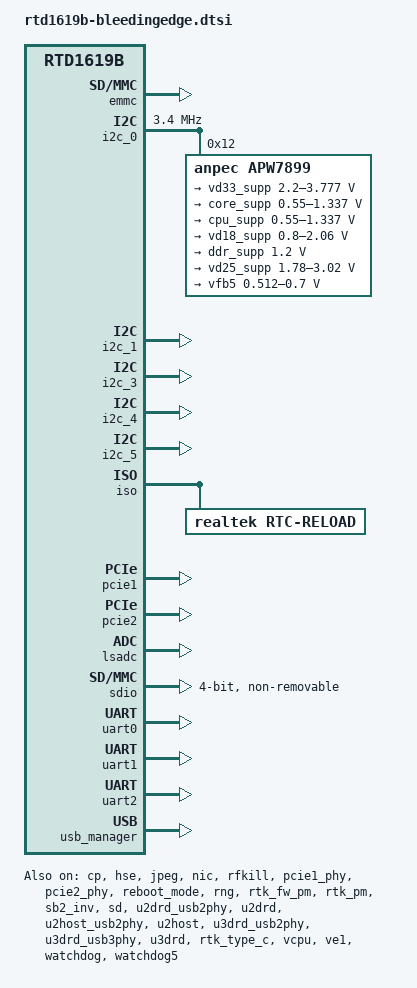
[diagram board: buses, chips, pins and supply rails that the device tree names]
// SPDX-License-Identifier: (GPL-2.0-or-later OR BSD-2-Clause)
/*
 * Copyright (c) 2020 Realtek Semiconductor Corp.
 */

/dts-v1/;

#include <dt-bindings/regulator/anpec,apw888x.h>
#include <dt-bindings/soc/realtek,pm.h>
#include <dt-bindings/thermal/thermal.h>
#include "rtd16xxb.dtsi"

/ {
	chosen {
		stdout-path = "serial0:460800n8";
	};

	aliases {
		serial0 = &uart0;
		serial1 = &uart1;
		serial2 = &uart2;
		rtc0 = &sw_rtc;
	};

	sw_rtc: sw-rtc {
		compatible = "realtek,emulated-rtc";
	};
};

&cp {
	status = "okay";
};

&cpu0 {
	clocks = <&cc RTD1619B_CRT_PLL_SCPU>;
	cpu-supply = <&cpu_supp>;
	operating-points-v2 = <&cpu_opps>;
	#cooling-cells = <2>;
};

&cpu1 {
	clocks = <&cc RTD1619B_CRT_PLL_SCPU>;
	cpu-supply = <&cpu_supp>;
	operating-points-v2 = <&cpu_opps>;
	#cooling-cells = <2>;
};

&cpu2 {
	clocks = <&cc RTD1619B_CRT_PLL_SCPU>;
	cpu-supply = <&cpu_supp>;
	operating-points-v2 = <&cpu_opps>;
	#cooling-cells = <2>;
};

&cpu3 {
	clocks = <&cc RTD1619B_CRT_PLL_SCPU>;
	cpu-supply = <&cpu_supp>;
	operating-points-v2 = <&cpu_opps>;
	#cooling-cells = <2>;
};

&cpu_dvfs {
	fss,opp-updated = <0>;
	fss,volt-correct = <25000>;
	fss,volt-step = <25000>;
	fss,volt-min = <775000>;
	fss,volt-max = <1050000>;

	bsv,opp-updated = <0>;
	bsv,volt-correct = <150000 175000>;
	bsv,volt-step = <25000>;
	bsv,volt-min = <800000>;
	bsv,volt-max = <1050000>;

	cpu_opps: cpu-opp-table {
		compatible = "operating-points-v2";
		opp-shared;
		opp1000: opp-1000mhz {
			opp-hz = /bits/ 64 <1000000000>;
			opp-microvolt = <800000>;
			opp-microvolt-bsv = <0>;
			opp-microvolt-fss = <0>;
			clock-latency-ns = <150000>;
			status = "okay";
		};

		opp1100: opp-1100mhz {
			opp-hz = /bits/ 64 <1100000000>;
			opp-microvolt = <1050000>;
			opp-microvolt-fss = <0>;
			opp-microvolt-bsv = <0>;
			clock-latency-ns = <150000>;
			status = "okay";
		};

		opp1200: opp-1200mhz {
			opp-hz = /bits/ 64 <1200000000>;
			opp-microvolt = <1050000>;
			opp-microvolt-fss = <0>;
			opp-microvolt-bsv = <0>;
			clock-latency-ns = <150000>;
			status = "okay";
		};

		opp1300: opp-1300mhz {
			opp-hz = /bits/ 64 <1300000000>;
			opp-microvolt = <1050000>;
			opp-microvolt-fss = <0>;
			opp-microvolt-bsv = <0>;
			clock-latency-ns = <150000>;
			status = "okay";
		};

		opp1400: opp-1400mhz {
			opp-hz = /bits/ 64 <1400000000>;
			opp-microvolt = <1050000>;
			opp-microvolt-fss = <0>;
			opp-microvolt-bsv = <0>;
			clock-latency-ns = <150000>;
			status = "okay";
		};

		opp1500: opp-1500mhz {
			opp-hz = /bits/ 64 <1500000000>;
			opp-microvolt = <1050000>;
			opp-microvolt-fss = <0>;
			opp-microvolt-bsv = <0>;
			clock-latency-ns = <150000>;
			status = "okay";
		};

		opp1600: opp-1600mhz {
			opp-hz = /bits/ 64 <1600000000>;
			opp-microvolt = <1050000>;
			opp-microvolt-fss = <0>;
			opp-microvolt-bsv = <0>;
			clock-latency-ns = <150000>;
			status = "okay";
		};

		opp1700: opp-1700mhz {
			opp-hz = /bits/ 64 <1700000000>;
			opp-microvolt = <1050000>;
			opp-microvolt-fss = <0>;
			opp-microvolt-bsv = <0>;
			clock-latency-ns = <150000>;
			opp-suspend;
			status = "okay";
		};
	};
};

&cpu_thermal {
	trips {
		cpu_alert0: cpu-alert0 {
			temperature = <90000>;
			hysteresis = <0>;
			type = "passive";
		};

		cpu_alert1: cpu-alert1 {
			temperature = <105000>;
			hysteresis = <0>;
			type = "passive";
		};
	};

	cooling-maps {
		cpu-map0 {
			trip = <&cpu_alert0>;
			cooling-device = <&cpu0 2 3>;
			contribution = <70>;
		};

		cpu-map1 {
			trip = <&cpu_alert1>;
			cooling-device = <&cpu0 4 THERMAL_NO_LIMIT>;
			contribution = <70>;
		};
	};
};

&cpu_tm {
	status = "okay";
};

&emmc {
	status = "okay";
};

&gpio {
	status = "okay";
};

&hse {
	status = "okay";
};

&i2c_0 {
	clock-frequency = <3400000>;
	pinctrl-0 = <&i2c_pins_0_HS>;
	status = "okay";

	apw7899: apw7899@12 {
		compatible = "anpec,apw7899";
		reg = <0x12>;

		regulators {
			compatible = "anpec,apw8886-regulator";

			vd33_supp: dc1 {
				regulator-name = "vd33";
				regulator-min-microvolt = <2200000>;
				regulator-max-microvolt = <3777500>;

				regulator-boot-on;
				regulator-always-on;
				regulator-initial-mode = <APW888X_DC_MODE_AUTO>;
				regulator-state-mem {
					regulator-on-in-suspend;
					regulator-suspend-microvolt = <3300000>;
				};
			};

			core_supp: dc2 {
				regulator-name = "core";
				regulator-min-microvolt = <550000>;
				regulator-max-microvolt = <1337500>;

				regulator-boot-on;
				regulator-always-on;
				regulator-initial-mode = <APW888X_DC_MODE_AUTO>;
				regulator-state-mem {
					regulator-on-in-suspend;
					regulator-suspend-microvolt = <800000>;
				};
			};

			cpu_supp: dc3 {
				regulator-name = "cpudvs";
				regulator-min-microvolt = <550000>;
				regulator-max-microvolt = <1337500>;

				regulator-boot-on;
				regulator-always-on;
				regulator-initial-mode = <APW888X_DC_MODE_AUTO>;
				regulator-ramp-delay = <625>;
				regulator-state-mem {
					regulator-off-in-suspend;
				};
			};

			vd18_supp: dc4 {
				regulator-name = "vd18";
				regulator-min-microvolt = <800000>;
				regulator-max-microvolt = <2060000>;

				regulator-boot-on;
				regulator-always-on;
				regulator-initial-mode = <APW888X_DC_MODE_AUTO>;
				regulator-state-mem {
					regulator-on-in-suspend;
				};
			};

			ddr_supp: dc5 {
				regulator-name = "ddr";
				regulator-min-microvolt = <1200000>;
				regulator-max-microvolt = <1200000>;
				regulator-boot-on;
				regulator-always-on;
				regulator-initial-mode = <APW888X_DC_MODE_AUTO>;
				regulator-state-mem {
					regulator-on-in-suspend;
				};

				regulator-state-shutdown {
					regulator-off-in-suspend;
				};
			};

			vd25_supp: ldo1 {
				regulator-name = "vd25";
				regulator-min-microvolt = <1780000>;
				regulator-max-microvolt = <3020000>;

				regulator-boot-on;
				regulator-always-on;
				regulator-initial-mode = <APW888X_LDO_MODE_NORMAL>;
				regulator-state-mem {
					regulator-on-in-suspend;
				};
			};

			vfb5 {
				regulator-name = "vfb5";
				regulator-min-microvolt = <512500>;
				regulator-max-microvolt = <700000>;

				regulator-boot-on;
				regulator-always-on;
				regulator-state-mem {
					regulator-on-in-suspend;
				};
			};
		};
	};
};

&i2c_1 {
	status = "okay";
};

&i2c_3 {
	status = "okay";
};

&i2c_4 {
	status = "okay";
};

&i2c_5 {
	status = "okay";
};

&iso {
	rtc-reload@64c {
		compatible = "realtek,rtc-reload";
		reg = <0x64c 0x4>;
		status = "okay";
	};
};

&jpeg {
	status = "okay";
};

&nic {
	status = "okay";
};

&rfkill {
	rfkill-gpios = <&gpio 6 GPIO_ACTIVE_HIGH>;
	status = "okay";
};

&pcie1 {
	status = "okay";
};

&pcie1_phy {
	status = "okay";
};

&pcie2 {
	status = "okay";
};

&pcie2_phy {
	status = "okay";
};

&pwm {
	status = "disabled";
};

&reboot_mode {
	status = "okay";
};

&rng {
	status = "okay";
};

&lsadc {
	status = "okay";
};

&rtk_fw_pm {
	status = "okay";
};

&rtk_pm {
	wakeup-flags = <NORMAL_MODE>;
	wakeup-gpio-list = <2 GPIO_WAKEUP_ENABLE GPIO_WAKEUP_ACTIVE_LOW>,
			   <4 GPIO_WAKEUP_ENABLE GPIO_WAKEUP_ACTIVE_LOW>,
			   <26 GPIO_WAKEUP_ENABLE GPIO_WAKEUP_ACTIVE_LOW>;
	wakeup-timer = <0>;
	status = "okay";
};

&sb2_inv {
	status = "okay";
};

&sd {
	status = "okay";
};

&sdio {
	bus-width = <4>;
	non-removable;
	cap-sd-highspeed;
	cap-mmc-highspeed;
	sd-uhs-sdr12;
	sd-uhs-sdr25;
	sd-uhs-sdr50;
	sd-uhs-sdr104;
	keep-power-in-suspend;
	enable-sdio-wakeup;
	no-sd;
	no-mmc;
	status = "okay";
};

&u2drd_usb2phy {
	status = "okay";
};

&u2drd {
	status = "okay";
};

&u2host_usb2phy {
	status = "okay";
};

&u2host {
	status = "okay";
};

&u3drd_usb2phy {
	status = "okay";
};

&u3drd_usb3phy {
	status = "okay";
};

&u3drd {
	status = "okay";
};

&rtk_type_c {
	status = "okay";

	dwc3_rtk = <&u3drd>;
};

/* debug console (J1) */
&uart0 {
	status = "okay";
};

/* M.2 slot (CON2) */
&uart1 {
	status = "okay";
};

&uart2 {
	status = "okay";
};

&usb_manager {
	status = "okay";

	gpio0 {
		realtek,power-gpio = <&gpio 48 GPIO_ACTIVE_HIGH>;
		power_low_active;
	};

	gpio1 {
		realtek,power-gpio = <&gpio 49 GPIO_ACTIVE_HIGH>;
		power_low_active;
	};

	rtk_usb {
		/*
		type_c {
			realtek,plug_side_switch-gpio = <&gpio 53 GPIO_ACTIVE_HIGH>;
		};
		*/
	};
};

&vcpu {
	status = "okay";
};

&vcpu_ve3 {
	status = "disabled";
};

&ve1 {
	status = "okay";
};

&watchdog {
	status = "okay";
};

&watchdog5 {
	status = "okay";
};

&sata_phy {
	status = "disabled";
};

&sata_phy0 {
	tx-swing = <(-2)>, <(1)>, <(0)>; /* tx swing adjust sample : <gen1>, <gen2>, <gen3> */
	/delete-property/ tx-swing;
	tx-emphasis = <3>, <(-2)>, <(-3)>; /* tx emphasis adjust sample : <gen1>, <gen2>, <gen3> */
	/delete-property/ tx-emphasis;
	status = "disabled";
};

&sata_phy1 {
	status = "disabled";
};

&ahci_sata {
	status = "disabled";
};

&sata_port0 {
	status = "disabled";
};

&sata_port1 {
	status = "disabled";
};

